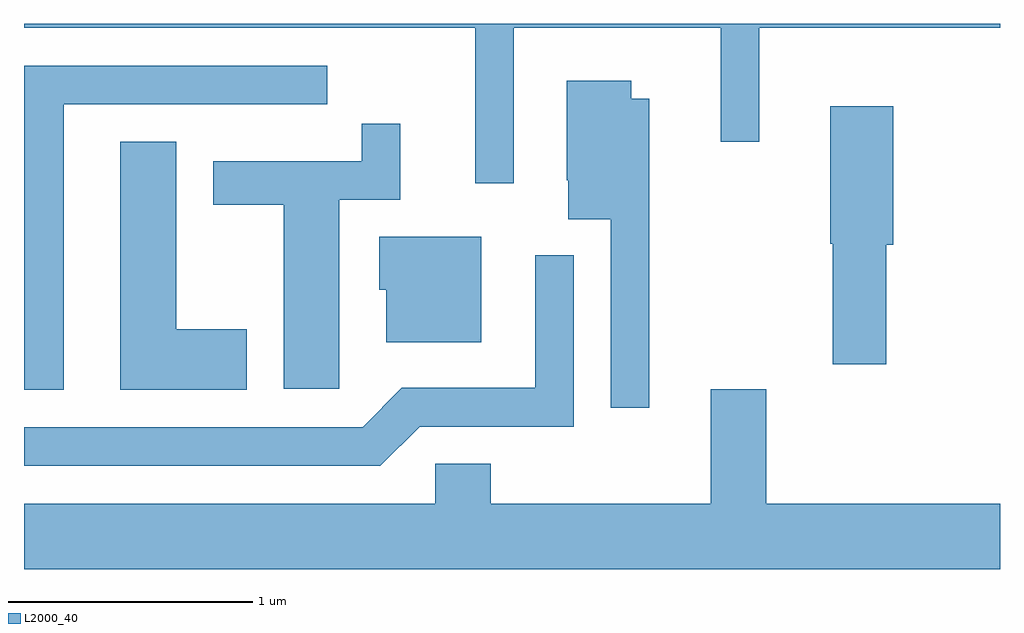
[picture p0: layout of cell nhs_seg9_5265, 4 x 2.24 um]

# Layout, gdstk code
import gdstk
lib = gdstk.Library(unit=1e-6, precision=1e-09)
def P(c, l, *ps):  # polygons
    for p in ps: c.add(gdstk.Polygon(p, *l))
L2000_40 = (2000, 40)

nhs_seg9_5265 = lib.new_cell('nhs_seg9_5265')
P(nhs_seg9_5265, L2000_40, [(341.619,2058.416),(342.466,2058.416),(342.466,2057.948),(342.624,2057.948),(342.624,2058.416),(343.611,2058.416),(343.611,2058.432),(339.611,2058.432),(339.611,2058.416),(341.461,2058.416),(341.461,2057.778),(341.619,2057.778)],
  [(339.774,2058.101),(340.853,2058.101),(340.853,2058.259),(339.611,2058.259),(339.611,2056.931),(339.774,2056.931)],
  [(342.174,2058.124),(342.099,2058.124),(342.099,2058.199),(341.836,2058.199),(341.836,2057.79),(341.841,2057.79),(341.841,2057.631),(342.016,2057.631),(342.016,2056.858),(342.174,2056.858)],
  [(343.144,2057.526),(343.174,2057.526),(343.174,2058.094),(342.916,2058.094),(342.916,2057.53),(342.926,2057.53),(342.926,2057.036),(343.144,2057.036)],
  [(340.904,2057.711),(341.154,2057.711),(341.154,2058.023),(340.996,2058.023),(340.996,2057.869),(340.386,2057.869),(340.386,2057.691),(340.676,2057.691),(340.676,2056.936),(340.904,2056.936)],
  [(340.524,2057.179),(340.234,2057.179),(340.234,2057.949),(340.006,2057.949),(340.006,2056.931),(340.524,2056.931)],
  [(341.484,2057.559),(341.066,2057.559),(341.066,2057.341),(341.096,2057.341),(341.096,2057.126),(341.484,2057.126)],
  [(341.232,2056.781),(341.864,2056.781),(341.864,2057.483),(341.706,2057.483),(341.706,2056.939),(341.159,2056.939),(340.999,2056.779),(339.611,2056.779),(339.611,2056.621),(341.072,2056.621)],
  [(343.611,2056.464),(342.654,2056.464),(342.654,2056.934),(342.426,2056.934),(342.426,2056.464),(341.524,2056.464),(341.524,2056.629),(341.296,2056.629),(341.296,2056.464),(339.611,2056.464),(339.611,2056.196),(343.611,2056.196)])

lib.write_gds('nhs_seg9_5265.gds')
